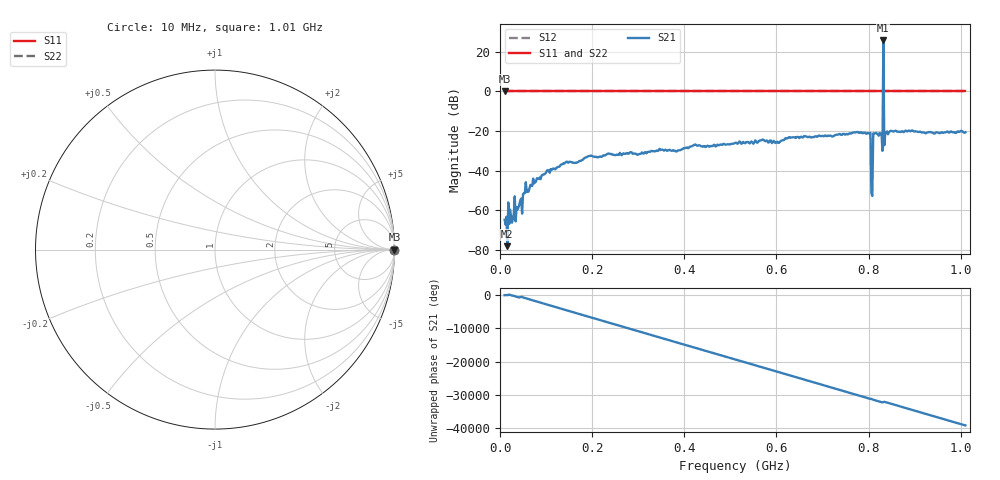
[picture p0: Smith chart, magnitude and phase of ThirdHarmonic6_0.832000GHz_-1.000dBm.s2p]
! 8/16/2025 3:37:19 AM
! C:\ANRITSUVNA\TEMP\TEMP.S2P
! CHANNEL.1
! TR.MEASUREMENT
! RAW.DATA
! RF.CORRECTION.OFF
! AVERAGING.OFF
! IF.BANDWIDTH: 5KHZ
! SWEEPTYPE:  FREQ.SWEEP(Linear)
! Reference Plane Port Info
! PORT:  PORT1  PORT2
! DISTANCE:  0  m  0  m
! TIME:  0  s  0  s
! PHASE.OFFSET:  0  deg.  0  deg.
! LOSS:  0  dB  0  dB
! REF.LOSS:  0  dB  0  dB
! REF.FREQ:  0  Hz  0  Hz
! Power Info
! POWER:  -20  dBm  -20  dBm
! EFF.POWER:  -20  dBm  -20  dBm
! SOURCE.ATTEN:  0  dB  0  dB
! TEST.ATTEN:  0  dB  0  dB
# GHZ S RI R 50.0
! FREQ.GHZ  S11RE  S11IM  S21RE  S21IM  S12RE  S12IM  S22RE  S22IM
!; PortSelection: Port_12
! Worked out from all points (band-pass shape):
!   501 points, 10 MHz to 1.01 GHz, reference 50 ohm
!   highest |S21| = 25.57 dB at 832 MHz (marker M1); lowest = -78.0 dB at 16 MHz (marker M2)
!   |S21| within 3 dB of the highest: 831.8921 MHz to 832.1137 MHz (221.7 kHz wide, 0.0266 % of centre)
!   lowest |S11| = 0.0 dB at 10 MHz (marker M3)
!   |S11| at or under -10 dB: nowhere
!   |S22| runs from 0.0 to 0.0 dB; largest |S21 - S12| = 19
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0.01  1 0  0.000342 -0.000473  1 0  1 0
0.012  1 0  0.000429 -0.000102  1 0  1 0
0.016  1 0  0.000126 4.1e-06  1 0  1 0
0.038  1 0  -0.000382 0.000985  1 0  1 0
0.054  1 0  -0.00272 -7.41e-05  1 0  1 0
0.076  1 0  0.00509 0.000344  1 0  1 0
0.142  1 0  -0.0155 -0.00455  1 0  1 0
0.178  1 0  -0.0185 -0.00169  1 0  1 0
0.344  1 0  0.0289 -0.014  1 0  1 0
0.51  1 0  -0.0371 0.0334  1 0  1 0
0.678  1 0  -0.0614 -0.034  1 0  1 0
0.8  1 0  0.0661 -0.0582  1 0  1 0
0.804  1 0  -0.0844 0.0299  1 0  1 0
0.81  1 0  0.00891 -0.0864  1 0  1 0
0.814  1 0  -0.0372 0.0792  1 0  1 0
0.826  1 0  0.0824 -0.0105  1 0  1 0
0.828  1 0  0.00683 -0.0848  1 0  1 0
0.832  1 0  4.786 -18.37  1 0  1 0
0.836  1 0  0.0577 -0.0583  1 0  1 0
0.838  1 0  -0.0497 -0.0764  1 0  1 0
0.844  1 0  0.0922 -0.0144  1 0  1 0
1.01  1 0  -0.0564 0.0733  1 0  1 0
